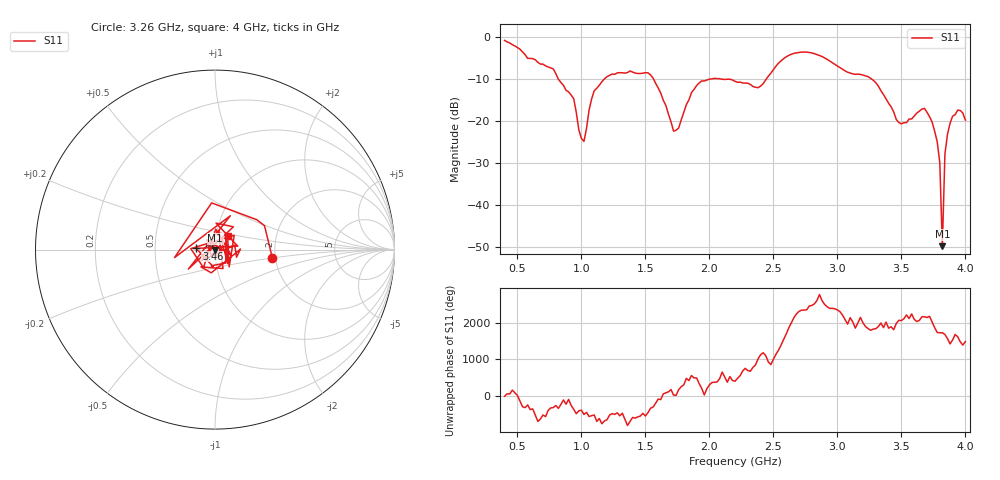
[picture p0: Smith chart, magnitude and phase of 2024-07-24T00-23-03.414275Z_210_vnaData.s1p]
!Created with skrf (http://scikit-rf.org).
# Hz S RI R 50.0
!freq ReS11 ImS11
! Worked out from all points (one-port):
!   181 points, 400 MHz to 4 GHz, reference 50 ohm
!   lowest |S11| = -49.8 dB at 3.82 GHz (marker M1), VSWR 1.01, Z = 50.1 - j0.312 ohm
!   |S11| at or under -10 dB: 819.5 MHz to 1.178 GHz (358.9 MHz wide, 35.9 % of centre); 1.564 GHz to 2.003 GHz (438.8 MHz wide, 24.6 % of centre); 3.268 GHz to end of sweep (the widest 3 of 4)
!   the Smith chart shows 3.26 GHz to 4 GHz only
!   S11 on the Smith chart (normalised r, x): 3.26 GHz: 1.93, -0.20; 3.46 GHz: 0.81, +0.01; 4 GHz: 1.14, +0.17
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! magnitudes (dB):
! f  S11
! 400 MHz  -0.8
! 780 MHz  -7.6
! 860 MHz  -11.5
! 940 MHz  -14.7
! 980 MHz  -22.1
! 1.02 GHz  -24.8
! 1.1 GHz  -12.8
! 1.3 GHz  -8.5
! 1.54 GHz  -9.0
! 1.72 GHz  -22.4
! 1.76 GHz  -21.7
! 1.86 GHz  -13.2
! 1.92 GHz  -10.9
! 2.2 GHz  -10.5
! 2.38 GHz  -12.1
! 2.66 GHz  -3.9
! 3.1 GHz  -8.5
! 3.26 GHz  -9.8
! 3.46 GHz  -19.6
! 3.56 GHz  -19.5
! 3.68 GHz  -17.0
! 3.76 GHz  -22.4
! 3.8 GHz  -30.0
! 3.82 GHz  -49.8
! 3.84 GHz  -27.9
! 3.86 GHz  -23.2
! 3.94 GHz  -17.4
! 4 GHz  -19.8
